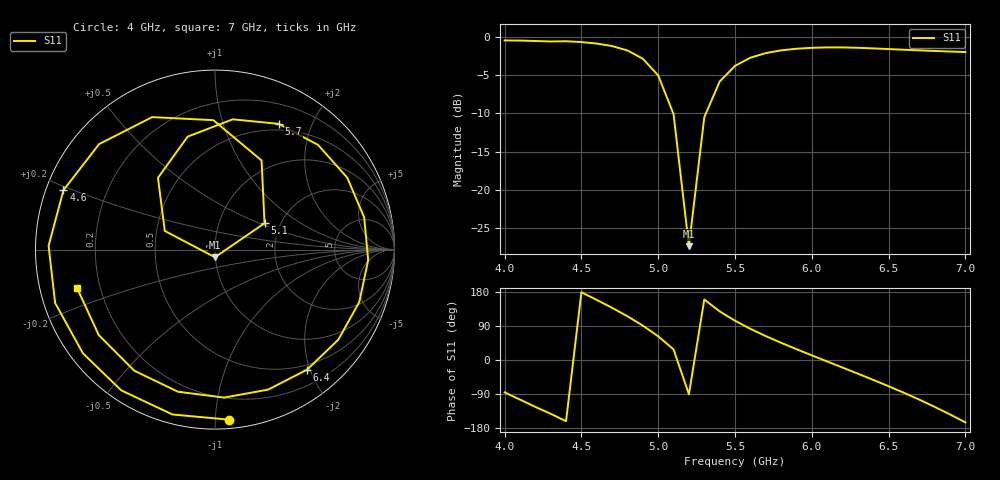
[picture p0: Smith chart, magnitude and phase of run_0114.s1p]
! Touchstone file exported from HFSS 2024.2.0
!  File:  C:/Users/wsak9/Desktop/Sim Fast/Widenad Patch/WP_AI_V1_sweep.aedt
!  Generated:  07:39:53 PM Oct 13, 2026
!  Design:  A1_model
!  Project:  WP_AI_V1_sweep
!  Setup:  Setup1
!  Solution:  Sweep
! Variables:
!  Air_gap = 3.64mm
!  Curve_Amp1 = 1.64
!  Curve_len1 = 1
!  Curve_pos = 11.095mm
!  Extra = 0.61mm
!  H_sub = 0.79mm
!  L_Patch = 18.19mm
!  L_Patch1 = 11.19mm
!  Sx = 0.46mm
!  Sy = 4.57mm
!  WS = 1.37mm
!  W_Patch = 22.68mm
!  W_Patch1 = 10.58mm
!Data is not renormalized
# GHz S MA
! Terminal data exported
! Port[1] = 1
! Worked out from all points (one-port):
!   31 points, 4 GHz to 7 GHz, reference per port
!   lowest |S11| = -27.4 dB at 5.2 GHz (marker M1), VSWR 1.09
!   |S11| at or under -10 dB: 5.098 GHz to 5.311 GHz (212.8 MHz wide, 4.09 % of centre)
!   S11 on the Smith chart (normalised r, x): 4 GHz: 0.06, -1.08; 4.6 GHz: 0.05, +0.19; 5.1 GHz: 1.65, +0.54; 5.7 GHz: 0.42, +1.54; 6.4 GHz: 0.42, -1.96; 7 GHz: 0.11, -0.13
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4  0.9502 -85.4
4.1  0.9488 -104.5
4.2  0.9423 -123.7
4.3  0.9357 -141.9
4.4  0.939 -161.5
4.5  0.9273 178.7
4.6  0.9069 158.6
4.7  0.8732 137.7
4.8  0.8168 115.4
4.9  0.7212 90.7
5  0.5603 62.4
5.1  0.3127 28.0
5.2  0.04265 -90.6
5.3  0.2983 159.6
5.4  0.5108 128.5
5.5  0.6476 103.6
5.6  0.7324 82.3
5.7  0.7853 63.1
5.9  0.8387 28.6
6  0.8503 12.2
6.1  0.8554 -3.9
6.3  0.8508 -36.1
6.4  0.8431 -52.5
6.6  0.8261 -86.5
6.7  0.8184 -104.6
6.8  0.8108 -123.7
6.9  0.8039 -143.7
7  0.7982 -164.6
